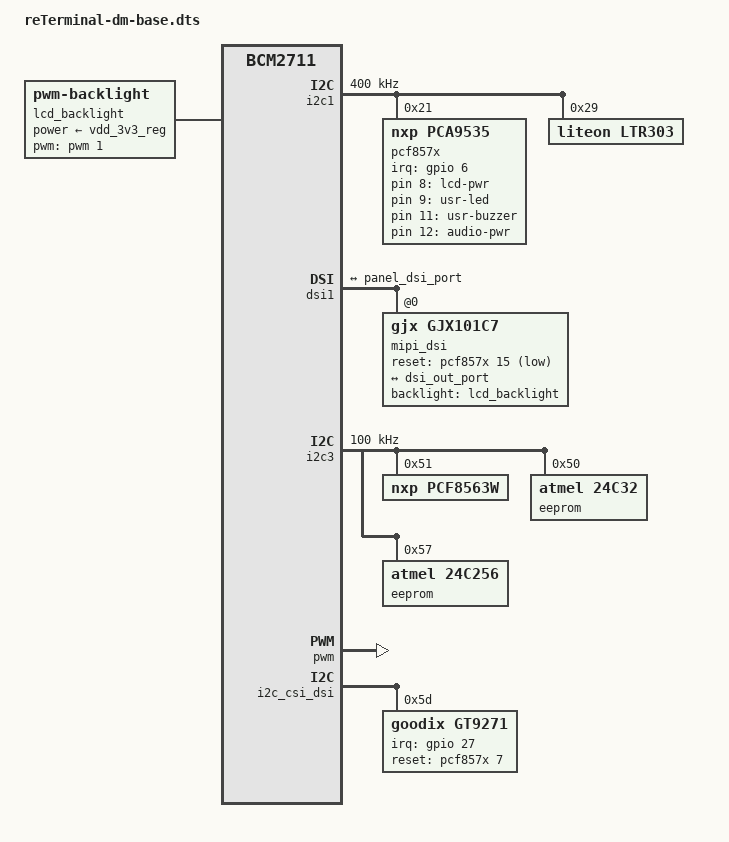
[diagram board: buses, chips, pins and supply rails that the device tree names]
/*
 * reTerminal DM base overlay: core hardware support.
 *
 * DSI display, Goodix touchscreen, PCA9535 GPIO expander, RTC, EEPROMs,
 * LTR303 light sensor, LEDs, PWM backlight.
 *
 * Split from the monolithic reTerminal-plus.dts so that CAN and audio
 * can be loaded (or omitted) independently via config.txt.
 *
 * Copyright (C) 2021 Seeed Studio
 * Zhangqun Ming <north_sea@qq.com>
 *
 * MIT License
 */
/dts-v1/;
/plugin/;

/ {
    compatible = "brcm,bcm2835", "brcm,bcm2708", "brcm,bcm2709", "brcm,bcm2711";

    fragment@0 {
        target-path="/";
        __overlay__ {
            hardware = "reTerminal plus V1.0";
        };
    };

	fragment@1 {
		target = <&i2c1>;
		__overlay__ {
			status = "okay";

			/* this is the configuration part */
			clock-frequency = <400000>;

			#address-cells = <1>;
			#size-cells = <0>;

			pcf857x: pcf@21 {
				compatible = "nxp,pca9535";
				reg = <0x21>;
				status = "okay";

				gpio-controller;
				#gpio-cells = <2>;
				#interrupt-cells=<2>;
				interrupt-parent = <&gpio>;
				interrupts = <6 2>; /* IRQ_TYPE_EDGE_FALLING */
				interrupt-controller;
			};

			ltr303@29 {
				compatible = "liteon,ltr303";
				reg = <0x29>;
				status = "okay";
			};

		};
	};

	fragment@2 {
		target = <&gpio>;
		__overlay__ {

			pcf857x_pins: pcf857x_pins@21 {
				brcm,pins = <6>;     /* gpio number */
				brcm,function = <0>; /* 0 = input, 1 = output */
				brcm,pull = <2>;     /* 0 = none, 1 = pull down, 2 = pull up */
			};

			pwm_pins: pwm_pins {
				brcm,pins = <13>;
				brcm,function = <4>; // ALT0
			};

			tp_int_pin: tp_int_pin {
				brcm,pins = <27>;     /* gpio number */
				brcm,function = <0>; /* 0 = input, 1 = output */
				brcm,pull = <0>;     /* 0 = none, 1 = pull down, 2 = pull up */
			};
		};
	};

	fragment@3 {
		target = <&dsi1>;
		__overlay__ {
			#address-cells = <1>;
			#size-cells = <0>;
			status = "okay";

			port {
				dsi_out_port: endpoint {
					remote-endpoint = <&panel_dsi_port>;
				};
			};
			mipi_dsi: mipi_dsi@45 {
				compatible = "gjx,gjx101c7";
				reg = <0>;

				backlight = <&lcd_backlight>;
				reset-gpios=<&pcf857x 15 1>;

				port {
					panel_dsi_port: endpoint {
						remote-endpoint = <&dsi_out_port>;
					};
				};
			};
		};
	};

	fragment@4 {
		target = <&i2c3>;
		__overlay__ {
			status = "okay";

			/* this is the configuration part */
			clock-frequency = <100000>;

			#address-cells = <1>;
			#size-cells = <0>;

			pcf8563w@51 {
				compatible = "nxp,pcf8563w";
				reg = <0x51>;
				reset-source;
				/* 0 = 4096Hz, 1 = 64Hz, 2 = 1Hz, 3 = 1/60Hz */
				timer-frequency = <0x02>;
				/* Timeout count, max 255 min 2*/
				default-timeout =  <120>;
				min-hw-heartbeat-ms = <2000>;
			};

			eeprom@50 {
				compatible = "atmel,24c32";
				reg = <0x50>;
			};

			eeprom@57 {
				compatible = "atmel,24c256";
				reg = <0x57>;
			};
		};
	};

	fragment@5 {
		target = <&leds>;
		__overlay__ {
			compatible = "gpio-leds";

                        lcd_pwr_en: lcd_pwr_en {
                                label = "lcd-pwr";
                                linux,default-trigger = "default-off";
                                gpios = <&pcf857x 8 0>;
                                default-state = "on";
                        };

			usr_led10: usr_led10 {
				label = "usr-led";
				linux,default-trigger = "default-off";
				gpios = <&pcf857x 9 0>;
				default-state = "off";
			};

			usr_buzzer: usr_buzzer {
				label = "usr-buzzer";
				linux,default-trigger = "default-off";
				gpios = <&pcf857x 11 0>;
				default-state = "off";
			};

			audio_pwr_en: audio_pwr_en {
					label = "audio-pwr";
					linux,default-trigger = "default-off";
					gpios = <&pcf857x 12 0>;
					default-state = "on";
			};
		};
	};

	fragment@6 {
			target = <&pwm>;
			frag1: __overlay__ {
					pinctrl-names = "default";
					pinctrl-0 = <&pwm_pins>;
					assigned-clock-rates = <1000000>;
					status = "okay";
			};
	};

	fragment@7 {
			target-path = "/";
			__overlay__ {
					lcd_backlight: lcd_backlight {
							compatible = "pwm-backlight";
							brightness-levels = <96 128 160 192 224 255>;
							default-brightness-level = <4>;
							pwms = <&pwm 1 200000 0>;
							power-supply = <&vdd_3v3_reg>;
							status = "okay";
					};
			};
	};

	fragment@8 {
		target = <&i2c_csi_dsi>; // The TP and CSI shared with the same I2C0 bus.
		__overlay__ {
			#address-cells = <1>;
			#size-cells = <0>;
			status = "okay";

			 gt9271: gt9271@5d {
				compatible = "goodix,gt9271";
				reg = <0x5d>;
				pinctrl-names = "default";
				pinctrl-0 = <&tp_int_pin>;
				interrupt-parent = <&gpio>;
				interrupts = <27 2>; // high-to-low edge triggered
				irq-gpios = <&gpio 27 0>;
				reset-gpios = <&pcf857x 7 0>;
				touchscreen-inverted-y;
				touchscreen-swapped-x-y;
			};
		};
	};

	__overrides__ {
	};
};
